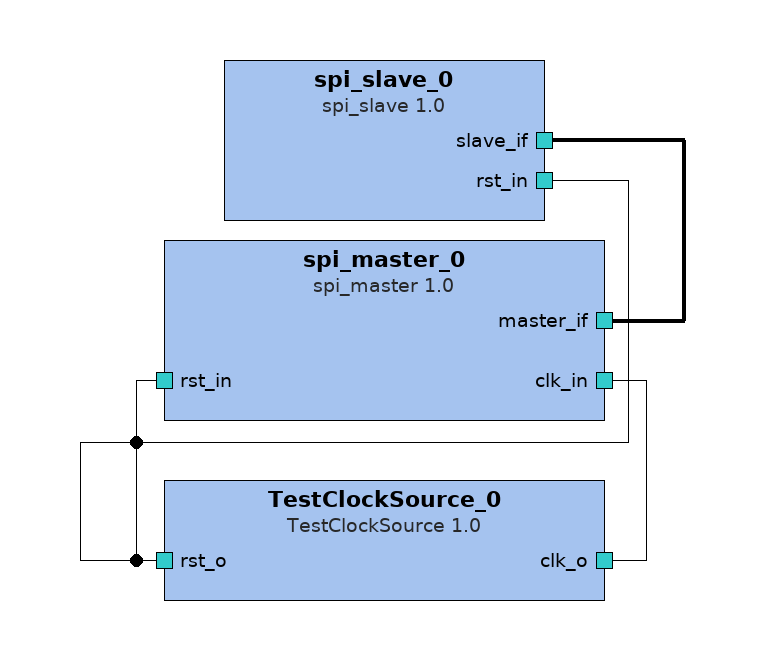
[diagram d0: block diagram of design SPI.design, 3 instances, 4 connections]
<?xml version="1.0" encoding="UTF-8"?>
<ipxact:design xmlns:xsi="http://www.w3.org/2001/XMLSchema-instance" xmlns:ipxact="http://www.accellera.org/XMLSchema/IPXACT/1685-2014" xmlns:kactus2="http://kactus2.cs.tut.fi" xsi:schemaLocation="http://www.accellera.org/XMLSchema/IPXACT/1685-2014/ http://www.accellera.org/XMLSchema/IPXACT/1685-2014/index.xsd"><ipxact:vendor>tut.fi</ipxact:vendor><ipxact:library>testBench</ipxact:library><ipxact:name>SPI.design</ipxact:name>
 <ipxact:version>1.0</ipxact:version><ipxact:componentInstances>
 <ipxact:componentInstance><ipxact:instanceName>spi_slave_0</ipxact:instanceName><ipxact:componentRef vendor="tut.fi" library="template" name="spi_slave" version="1.0"/></ipxact:componentInstance>
 <ipxact:componentInstance><ipxact:instanceName>spi_master_0</ipxact:instanceName><ipxact:componentRef vendor="tut.fi" library="template" name="spi_master" version="1.0"/></ipxact:componentInstance>
 <ipxact:componentInstance><ipxact:instanceName>TestClockSource_0</ipxact:instanceName><ipxact:componentRef vendor="tut.fi" library="testBench" name="TestClockSource" version="1.0"/></ipxact:componentInstance>
</ipxact:componentInstances>
 <ipxact:interconnections><ipxact:interconnection><ipxact:name>spi_master_0_master_if_to_spi_slave_0_slave_if</ipxact:name><ipxact:activeInterface componentRef="spi_master_0" busRef="master_if"/><ipxact:activeInterface componentRef="spi_slave_0" busRef="slave_if"/></ipxact:interconnection></ipxact:interconnections>
 <ipxact:adHocConnections>
  <ipxact:adHocConnection><ipxact:name>spi_slave_0_rst_in_to_TestClockSource_0_rst_o</ipxact:name><ipxact:portReferences><ipxact:internalPortReference componentRef="spi_slave_0" portRef="rst_in"/><ipxact:internalPortReference componentRef="TestClockSource_0" portRef="rst_o"/></ipxact:portReferences></ipxact:adHocConnection>
  <ipxact:adHocConnection><ipxact:name>TestClockSource_0_rst_o_to_spi_master_0_rst_in</ipxact:name><ipxact:portReferences><ipxact:internalPortReference componentRef="TestClockSource_0" portRef="rst_o"/><ipxact:internalPortReference componentRef="spi_master_0" portRef="rst_in"/></ipxact:portReferences></ipxact:adHocConnection>
  <ipxact:adHocConnection><ipxact:name>spi_master_0_clk_in_to_TestClockSource_0_clk_o</ipxact:name><ipxact:portReferences><ipxact:internalPortReference componentRef="spi_master_0" portRef="clk_in"/><ipxact:internalPortReference componentRef="TestClockSource_0" portRef="clk_o"/></ipxact:portReferences></ipxact:adHocConnection>
 </ipxact:adHocConnections>
</ipxact:design>

